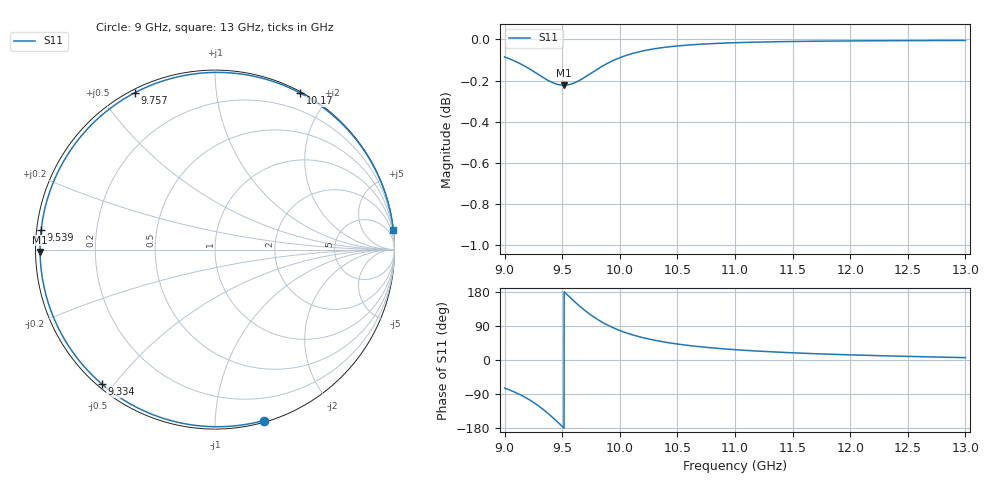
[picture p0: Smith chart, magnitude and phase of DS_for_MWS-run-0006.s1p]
! TOUCHSTONE file generated by CST DESIGN STUDIO
! Date and time: Tue Feb  4 17:50:50 2025
! Project name: C:\Work\MatlabApps\UnitCellOptimizationMatlab\CST\unitcell.cst
! Tree item: Tasks\Sweep1\SPara1\S-Parameters
! Header version: 2024
! Port assignment regex: !\s*Touchstone port\s*([0-9]+)\s*=\s*(CST MWS port|CST DES external port|CST DES block port)\s*(.+)\s* \(\"(.*)\"\)(\s*mode\s*([0-9]+))?.*
! Touchstone port assignment:
! Touchstone port 1 = CST DES external port 1 ("")
# GHz S MA R 50
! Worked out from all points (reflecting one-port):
!   4001 points, 9 GHz to 13 GHz, reference 50 ohm
!   lowest |S11| = -0.2 dB at 9.514 GHz (marker M1), VSWR 78.09, Z = 0.64 - j0.34 ohm
!   phase of S11 starts at -74 deg and turns -280 deg over the sweep
!   S11 on the Smith chart (normalised r, x): 9 GHz: 0.01, -1.32; 9.334 GHz: 0.01, -0.46; 9.539 GHz: 0.01, +0.06; 9.757 GHz: 0.01, +0.61; 10.17 GHz: 0.01, +1.68; 13 GHz: 0, +18
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9  0.9902 -74.1
9.09  0.9879 -85.1
9.194  0.9845 -101.2
9.267  0.9816 -115.2
9.334  0.9789 -130.2
9.379  0.9773 -141.5
9.425  0.9759 -153.8
9.463  0.9751 -164.5
9.5  0.9747 -175.2
9.514  0.9747 -179.2
9.539  0.9748 173.5
9.593  0.9757 158.1
9.654  0.9775 141.5
9.705  0.9794 128.8
9.757  0.9816 117.1
9.808  0.9836 106.8
9.863  0.9857 97.1
10  0.9898 77.8
10.081  0.9916 69.1
10.169  0.9932 61.4
10.32  0.995 51.1
10.5  0.9964 42.1
10.722  0.9974 34.2
11  0.9982 27.2
11.5  0.9989 19.0
12  0.9992 13.5
12.5  0.9994 9.5
13  0.9994 6.2
